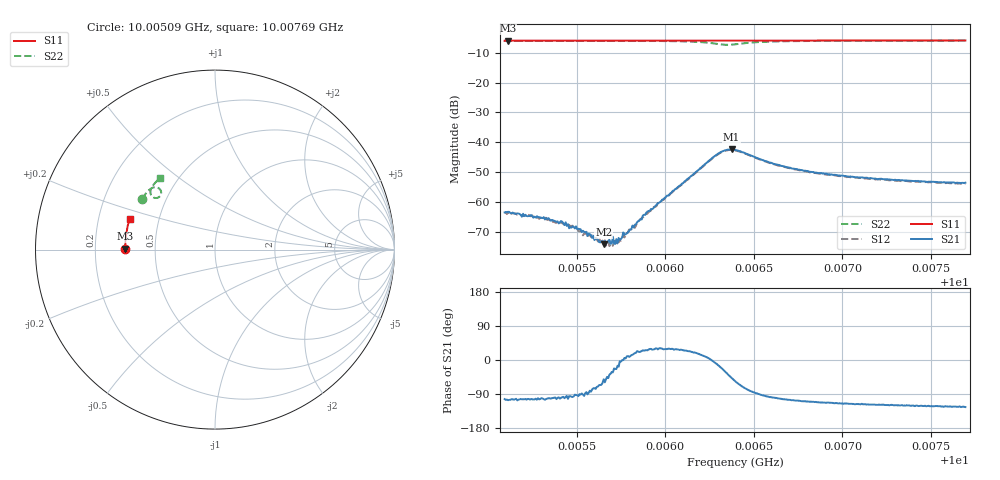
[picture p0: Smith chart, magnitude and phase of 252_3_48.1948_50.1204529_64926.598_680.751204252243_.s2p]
#  HZ  S  RI  R  50.00
! Rohde & Schwarz Vector Network Analyzer
! Rohde-Schwarz,ZNB20-2Port,1311601062101988,3.16
! Created: UTC 3/20/2024, 11:47:19 AM
! freq[Hz]  re:S11  im:S11  re:S21  im:S21  re:S12  im:S12  re:S22  im:S22
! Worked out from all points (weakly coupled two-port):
!   401 points, 10.00509 GHz to 10.00769 GHz, reference 50 ohm
!   highest |S21| = -42.38 dB at 10.00637 GHz (marker M1); lowest = -74.1 dB at 10.00565 GHz (marker M2)
!   lowest |S11| = -6.0 dB at 10.00511 GHz (marker M3), VSWR 3.00, Z = 16.7 + j0.217 ohm
!   |S11| at or under -10 dB: nowhere
!   |S22| runs from -7.4 to -6.0 dB; largest |S21 - S12| = 0.00046
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1.0005093e10  -0.4999 0.00371  -0.000154 -0.000655  -0.000116 -0.000644  -0.4058 0.2835
1.0005112e10  -0.4998 0.00487  -0.000189 -0.000661  -0.000145 -0.00066  -0.4053 0.2846
1.0005314e10  -0.4999 0.0181  -0.000128 -0.000545  -8.3e-05 -0.000524  -0.3973 0.2966
1.0005405e10  -0.4999 0.0241  -9.46e-05 -0.000446  -5.98e-05 -0.000447  -0.3934 0.302
1.0005457e10  -0.4998 0.0275  -3.4e-05 -0.000364  -1.35e-05 -0.000416  -0.391 0.305
1.0005483e10  -0.4996 0.0292  -3.97e-05 -0.000382  -1.55e-05 -0.000384  -0.3899 0.3066
1.0005529e10  -0.4997 0.032  9.3e-06 -0.000316  2.8e-06 -0.000323  -0.3879 0.3095
1.0005639e10  -0.4993 0.0392  9.22e-05 -0.0002  9.35e-05 -0.000201  -0.3824 0.3162
1.0005652e10  -0.4994 0.0401  0.000125 -0.000153  0.000146 -0.000148  -0.3817 0.317
1.0005698e10  -0.4993 0.0431  0.000175 -0.000107  0.000146 -0.000111  -0.3792 0.3199
1.0005737e10  -0.499 0.0454  0.000239 -7.68e-05  0.000208 -4.95e-05  -0.3771 0.3223
1.0005854e10  -0.4985 0.0533  0.000461 0.000177  0.000458 0.000193  -0.3697 0.33
1.0005886e10  -0.4983 0.0553  0.000552 0.000263  0.000534 0.000244  -0.3674 0.3318
1.0005964e10  -0.4979 0.0603  0.000839 0.000494  0.000833 0.00049  -0.3609 0.3373
1.0006283e10  -0.4952 0.0807  0.00594 -0.000824  0.00587 -0.000493  -0.3023 0.3288
1.0006329e10  -0.4947 0.0836  0.00641 -0.0032  0.00644 -0.00286  -0.3012 0.3073
1.0006374e10  -0.4942 0.0861  0.00514 -0.00561  0.00533 -0.00521  -0.3168 0.29
1.0006394e10  -0.4941 0.0872  0.00423 -0.00616  0.00442 -0.00581  -0.326 0.2874
1.0006621e10  -0.4925 0.1019  -0.000745 -0.00425  -0.000563 -0.00418  -0.3593 0.3277
1.000683e10  -0.4899 0.1151  -0.00111 -0.00299  -0.000959 -0.00297  -0.3503 0.35
1.0007265e10  -0.4836 0.1425  -0.00118 -0.00209  -0.00102 -0.00208  -0.3283 0.3777
1.0007695e10  -0.4759 0.1691  -0.00119 -0.00175  -0.00102 -0.00173  -0.3065 0.3986
